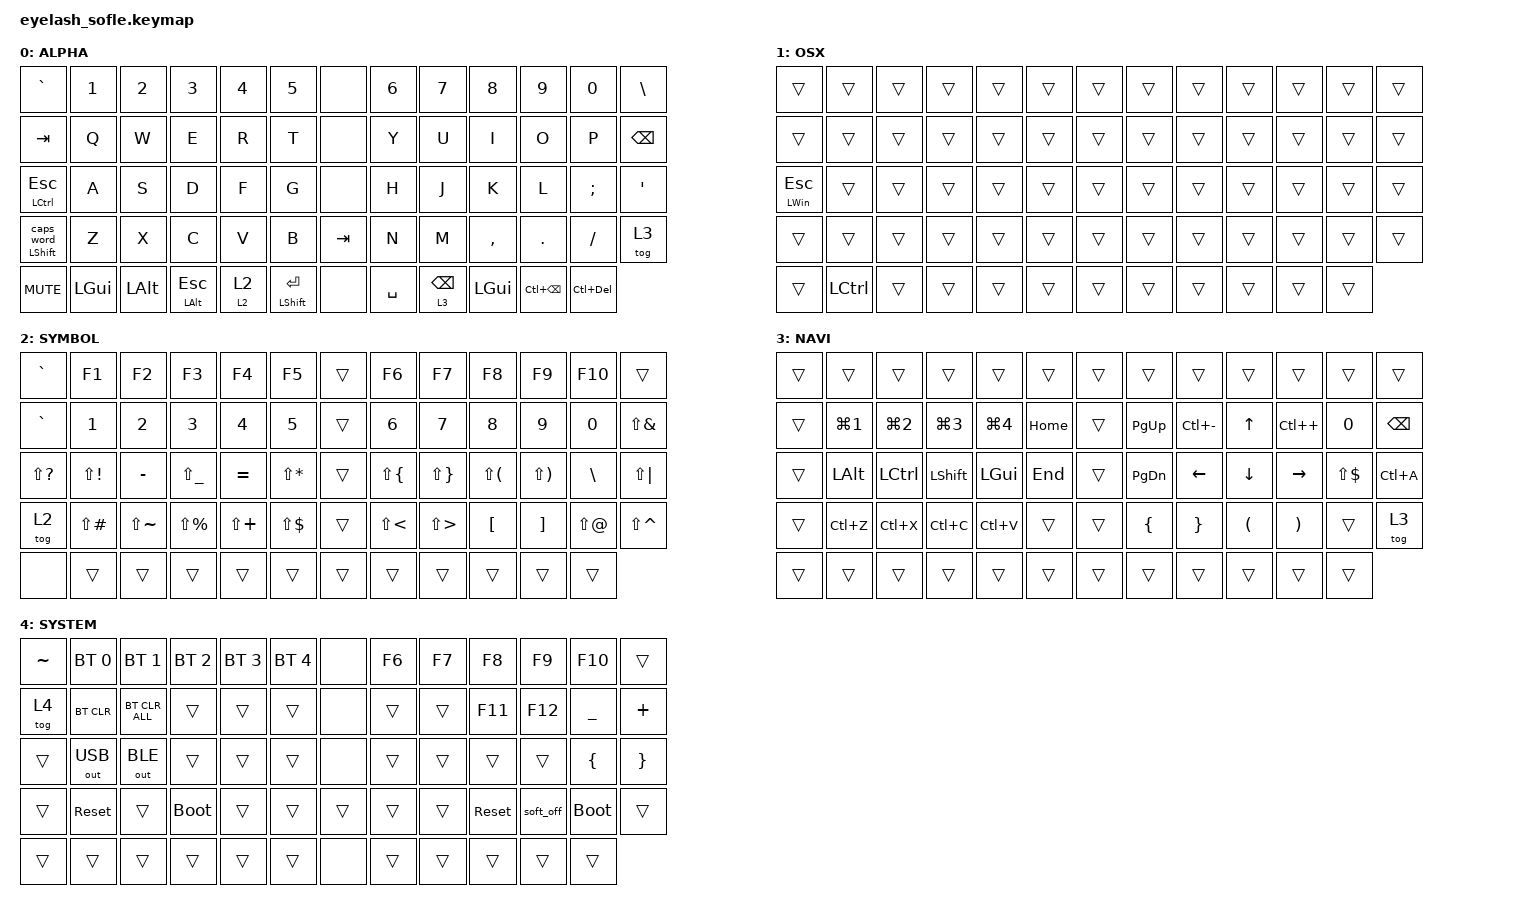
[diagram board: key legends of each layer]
#define ZMK_POINTING_DEFAULT_MOVE_VAL 1200  // 600
#define ZMK_POINTING_DEFAULT_SCRL_VAL 25   // 10

#include <input/processors.dtsi>
#include <zephyr/dt-bindings/input/input-event-codes.h>
#include <behaviors.dtsi>
#include <dt-bindings/zmk/bt.h>
#include <dt-bindings/zmk/keys.h>
#include <dt-bindings/zmk/outputs.h>
#include <dt-bindings/zmk/pointing.h>

&mmv_input_listener { input-processors = <&zip_xy_scaler 2 1>; };

&msc_input_listener { input-processors = <&zip_scroll_scaler 2 1>; };

&msc {
    acceleration-exponent = <1>;      // 0
    time-to-max-speed-ms = <100>;       // 300
    delay-ms = <0>;                   // 0
};

&mmv {
    time-to-max-speed-ms = <500>;
    acceleration-exponent = <1>;
    trigger-period-ms = <16>;
};

&lt { quick-tap-ms = <50>; };

/ {
    scroll_encoder: scroll_encoder {
        compatible = "zmk,behavior-sensor-rotate";
        #sensor-binding-cells = <0>;
        bindings = <&msc SCRL_DOWN>, <&msc SCRL_UP>;

        tap-ms = <100>;
    };

    caps_word_orshift: caps_word_orshift {
        compatible = "zmk,behavior-hold-tap";
        label = "CAPS_WORD_ORSHIFT";
        bindings = <&kp>, <&caps_word>;

        #binding-cells = <2>;
        tapping-term-ms = <200>;
    };

    oneshot_or_hold: oneshot_or_hold {
        compatible = "zmk,behavior-hold-tap";
        label = "ONESHOT_OR_HOLD";
        bindings = <&mo>, <&sl>;

        #binding-cells = <2>;
        tapping-term-ms = <100>;
    };

    behaviors {
    };

    combos {
        compatible = "zmk,combos";

        toggle-system {
            bindings = <&tog 4>;
            key-positions = <0 12>;
        };

        macostoggle {
            bindings = <&tog 1>;
            key-positions = <13 25>;
        };
    };

    keymap {
        compatible = "zmk,keymap";

        ALPHA {
            bindings = <
&kp GRAVE                   &kp N1    &kp N2        &kp N3               &kp N4                &kp N5                  &none    &kp N6     &kp N7           &kp N8     &kp N9             &kp N0          &kp BACKSLASH
&kp TAB                     &kp Q     &kp W         &kp E                &kp R                 &kp T                   &none    &kp Y      &kp U            &kp I      &kp O              &kp P           &kp BACKSPACE
&mt LCTRL ESCAPE            &kp A     &kp S         &kp D                &kp F                 &kp G                   &none    &kp H      &kp J            &kp K      &kp L              &kp SEMI        &kp APOS
&caps_word_orshift LSHFT 0  &kp Z     &kp X         &kp C                &kp V                 &kp B                   &kp TAB  &kp N      &kp M            &kp COMMA  &kp DOT            &kp FSLH        &tog 3
&kp C_MUTE                  &kp LGUI  &kp LEFT_ALT  &mt LEFT_ALT ESCAPE  &oneshot_or_hold 2 2  &mt LEFT_SHIFT ENTER    &none    &kp SPACE  &lt 3 BACKSPACE  &kp LGUI   &kp LC(BACKSPACE)  &kp LC(DELETE)
            >;

            display-name = "ALPHA";
        };

        MACOS {
            bindings = <
&trans               &trans     &trans  &trans  &trans  &trans    &trans  &trans  &trans  &trans  &trans  &trans  &trans
&trans               &trans     &trans  &trans  &trans  &trans    &trans  &trans  &trans  &trans  &trans  &trans  &trans
&mt LEFT_WIN ESCAPE  &trans     &trans  &trans  &trans  &trans    &trans  &trans  &trans  &trans  &trans  &trans  &trans
&trans               &trans     &trans  &trans  &trans  &trans    &trans  &trans  &trans  &trans  &trans  &trans  &trans
&trans               &kp LCTRL  &trans  &trans  &trans  &trans    &trans  &trans  &trans  &trans  &trans  &trans
            >;

            label = "OSX";
        };

        SYMBOL {
            bindings = <
&kp GRAVE      &kp F1         &kp F2         &kp F3         &kp F4        &kp F5          &trans  &kp F6        &kp F7        &kp F8        &kp F9        &kp F10     &trans
&kp GRAVE      &kp N1         &kp N2         &kp N3         &kp N4        &kp N5          &trans  &kp N6        &kp N7        &kp N8        &kp N9        &kp N0      &kp LS(AMPS)
&kp LS(QMARK)  &kp LS(EXCL)   &kp MINUS      &kp LS(UNDER)  &kp EQUAL     &kp LS(STAR)    &trans  &kp LS(LBRC)  &kp LS(RBRC)  &kp LS(LPAR)  &kp LS(RPAR)  &kp BSLH    &kp LS(PIPE)
&tog 2         &kp LS(POUND)  &kp LS(TILDE)  &kp LS(PRCNT)  &kp LS(PLUS)  &kp LS(DLLR)    &trans  &kp LS(LT)    &kp LS(GT)    &kp LBKT      &kp RBKT      &kp LS(AT)  &kp LS(CARET)
&none          &trans         &trans         &trans         &trans        &trans          &trans  &trans        &trans        &trans        &trans        &trans
            >;

            display-name = "SYMBOL";
        };

        NAVI {
            bindings = <
&trans  &trans      &trans            &trans            &trans            &trans      &trans  &trans          &trans           &trans                &trans                 &trans        &trans
&trans  &kp LG(N1)  &kp LG(NUMBER_2)  &kp LG(NUMBER_3)  &kp LG(NUMBER_4)  &kp HOME    &trans  &kp PG_UP       &kp LC(MINUS)    &kp UP                &kp LC(PLUS)           &kp N0        &kp BACKSPACE
&trans  &kp LALT    &kp LCTRL         &kp LSHFT         &kp LGUI          &kp END     &trans  &kp PG_DN       &kp LEFT         &kp DOWN              &kp RIGHT              &kp LS(DLLR)  &kp LC(A)
&trans  &kp LC(Z)   &kp LC(X)         &kp LC(C)         &kp LC(V)         &trans      &trans  &kp LEFT_BRACE  &kp RIGHT_BRACE  &kp LEFT_PARENTHESIS  &kp RIGHT_PARENTHESIS  &trans        &tog 3
&trans  &trans      &trans            &trans            &trans            &trans      &trans  &trans          &trans           &trans                &trans                 &trans
            >;

            label = "NAVI";
        };

        SYSTEM {
            bindings = <
&kp TILDE  &bt BT_SEL 0  &bt BT_SEL 1    &bt BT_SEL 2  &bt BT_SEL 3  &bt BT_SEL 4    &none   &kp F6  &kp F7  &kp F8      &kp F9     &kp F10      &trans
&tog 4     &bt BT_CLR    &bt BT_CLR_ALL  &trans        &trans        &trans          &none   &trans  &trans  &kp F11     &kp F12    &kp UNDER    &kp PLUS
&trans     &out OUT_USB  &out OUT_BLE    &trans        &trans        &trans          &none   &trans  &trans  &trans      &trans     &kp LBRC     &kp RBRC
&trans     &sys_reset    &trans          &bootloader   &trans        &trans          &trans  &trans  &trans  &sys_reset  &soft_off  &bootloader  &trans
&trans     &trans        &trans          &trans        &trans        &trans          &none   &trans  &trans  &trans      &trans     &trans
            >;

            label = "SYSTEM";
        };
    };
};
